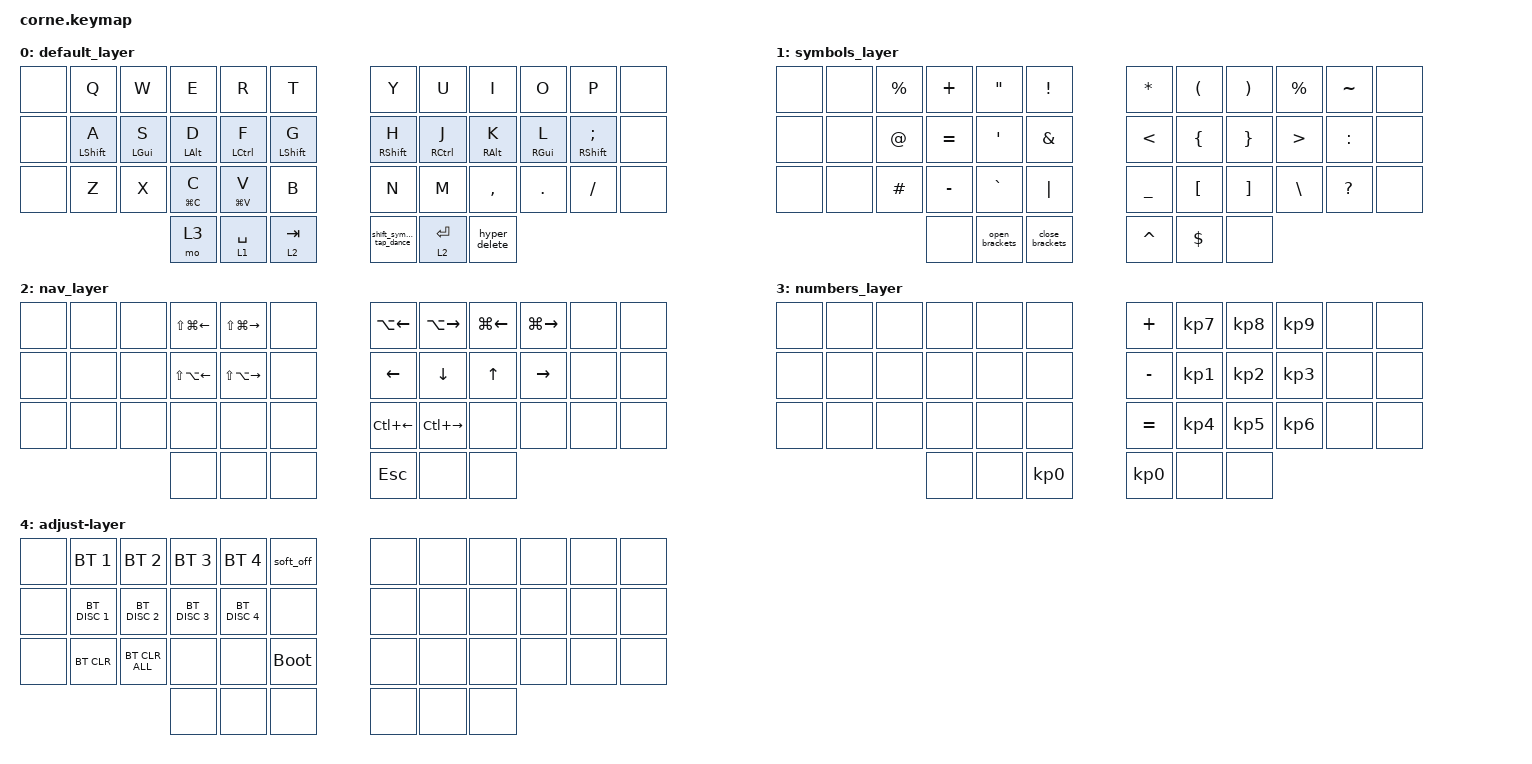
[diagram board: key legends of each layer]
/*
 * Copyright (c) 2020 The ZMK Contributors
 *
 * SPDX-License-Identifier: MIT
 */

#include <behaviors.dtsi>
#include <dt-bindings/zmk/bt.h>
#include <dt-bindings/zmk/keys.h>

/ {
    behaviors {
        balanced_mod_tap: balanced_mod_tap {
            compatible = "zmk,behavior-hold-tap";
            label = "BALANCED_MOD_TAP";
            bindings = <&sk>, <&kp>;

            #binding-cells = <2>;
            flavor = "balanced";
            tapping-term-ms = <200>;
        };

        shift_sym_layer_tap_dance: shift_sym_layer_tap_dance {
            compatible = "zmk,behavior-tap-dance";
            label = "SHIFT_SYM_LAYER_TAP_DANCE";
            #binding-cells = <0>;
            bindings = <&sk LEFT_SHIFT>, <&sl 1>;
        };

        dot_key_repeat_tap_dance: dot_key_repeat_tap_dance {
            compatible = "zmk,behavior-tap-dance";
            label = "DOT_KEY_REPEAT_TAP_DANCE";
            #binding-cells = <0>;
            bindings = <&kp DOT>, <&key_repeat>;
        };

        hyper_delete: hyper_delete {
            compatible = "zmk,behavior-tap-dance";
            label = "HYPER_DELETE";
            #binding-cells = <0>;
            bindings =
                <&kp BACKSPACE>,
                <&kp LA(BACKSPACE)>,
                <&kp LG(BACKSPACE)>;
        };

        open_brackets: open_brackets {
            compatible = "zmk,behavior-tap-dance";
            label = "OPEN_BRACKETS";
            #binding-cells = <0>;
            bindings = <&kp LEFT_BRACKET>, <&kp LESS_THAN>;
        };

        close_brackets: close_brackets {
            compatible = "zmk,behavior-tap-dance";
            label = "CLOSE_BRACKETS";
            #binding-cells = <0>;
            bindings = <&kp RIGHT_BRACKET>, <&kp GREATER_THAN>;
        };

        release_mod_tap: release_mod_tap {
            compatible = "zmk,behavior-hold-tap";
            label = "RELEASE_MOD_TAP";
            bindings = <&kp>, <&kp>;

            #binding-cells = <2>;
            flavor = "balanced";
            hold-trigger-on-release;
            tapping-term-ms = <200>;
        };

        brace_tap_dance: brace_tap_dance {
            compatible = "zmk,behavior-tap-dance";
            label = "BRACE_TAP_DANCE";
            #binding-cells = <0>;
            bindings = <&kp LEFT_BRACE>, <&kp RIGHT_BRACE>;
        };

        tap_num_word: tap_num_word {
            compatible = "zmk,behavior-tap-dance";
            label = "TAP_NUM_WORD";
            #binding-cells = <0>;
            bindings = <&sl 3>, <&caps_word>;
        };

        home_row_mod: home_row_mod {
            compatible = "zmk,behavior-hold-tap";
            label = "HOME_ROW_MOD";
            bindings = <&kp>, <&kp>;

            #binding-cells = <2>;
            tapping-term-ms = <200>;
        };
    };

    combos {
        compatible = "zmk,combos";

        sticky-adjust-layer {
            bindings = <&sl 4>;
            key-positions = <10 1>;
            layers = <0>;
            require-prior-idle-ms = <200>;
        };
    };

    keymap {
        compatible = "zmk,keymap";

        default_layer {
            // -----------------------------------------------------------------------------------------
            // |  TAB |  Q  |  W  |  E  |  R  |  T  |   |  Y  |  U   |  I  |  O  |  P  | BKSP |
            // | CTRL |  A  |  S  |  D  |  F  |  G  |   |  H  |  J   |  K  |  L  |  ;  |  '   |
            // | SHFT |  Z  |  X  |  C  |  V  |  B  |   |  N  |  M   |  ,  |  .  |  /  | ESC  |
            //                    | GUI | LWR | SPC |   | ENT | RSE  | ALT |

            bindings = <
&none  &kp Q                           &kp W                         &kp E                         &kp R                      &kp T                             &kp Y                            &kp U                      &kp I                          &kp O                          &kp P                           &none
&none  &balanced_mod_tap LEFT_SHIFT A  &balanced_mod_tap LEFT_GUI S  &balanced_mod_tap LEFT_ALT D  &balanced_mod_tap LCTRL F  &balanced_mod_tap LEFT_SHIFT G    &balanced_mod_tap RIGHT_SHIFT H  &balanced_mod_tap RCTRL J  &balanced_mod_tap RIGHT_ALT K  &balanced_mod_tap RIGHT_GUI L  &home_row_mod RIGHT_SHIFT SEMI  &none
&none  &kp Z                           &kp X                         &balanced_mod_tap LG(C) C     &release_mod_tap LG(V) V   &kp B                             &kp N                            &kp M                      &kp COMMA                      &kp PERIOD                     &kp FSLH                        &none
                                                                     &mo 3                         &lt 1 SPACE                &lt 2 TAB                         &shift_sym_layer_tap_dance       &lt 2 ENTER                &hyper_delete
            >;
        };

        symbols_layer {
            bindings = <
&none  &none  &kp PERCENT  &kp PLUS   &kp DOUBLE_QUOTES  &kp EXCLAMATION    &kp ASTERISK    &kp LEFT_PARENTHESIS  &kp RIGHT_PARENTHESIS  &kp PERCENT       &kp TILDE     &none
&none  &none  &kp AT_SIGN  &kp EQUAL  &kp SINGLE_QUOTE   &kp AMPERSAND      &kp LESS_THAN   &kp LEFT_BRACE        &kp RIGHT_BRACE        &kp GREATER_THAN  &kp COLON     &none
&none  &none  &kp HASH     &kp MINUS  &kp GRAVE          &kp PIPE           &kp UNDERSCORE  &kp LEFT_BRACKET      &kp RIGHT_BRACKET      &kp BACKSLASH     &kp QUESTION  &none
                           &none      &open_brackets     &close_brackets    &kp CARET       &kp DOLLAR            &none
            >;
        };

        nav_layer {
            bindings = <
&none  &none  &none  &kp LS(LG(LEFT_ARROW))  &kp LS(LG(RIGHT))  &none    &kp LA(LEFT)        &kp LA(RIGHT)  &kp LG(LEFT)  &kp LG(RIGHT)  &none  &none
&none  &none  &none  &kp LS(LA(LEFT_ARROW))  &kp LS(LA(RIGHT))  &none    &kp LEFT_ARROW      &kp DOWN       &kp UP_ARROW  &kp RIGHT      &none  &none
&none  &none  &none  &none                   &none              &none    &kp LC(LEFT_ARROW)  &kp LC(RIGHT)  &none         &none          &none  &none
                     &none                   &none              &none    &kp ESCAPE          &none          &none
            >;
        };

        numbers_layer {
            bindings = <
&none  &none  &none  &none  &none  &none              &kp PLUS         &kp KP_NUMBER_7  &kp KP_NUMBER_8  &kp KP_NUMBER_9  &none  &none
&none  &none  &none  &none  &none  &none              &kp MINUS        &kp KP_NUMBER_1  &kp KP_NUMBER_2  &kp KP_NUMBER_3  &none  &none
&none  &none  &none  &none  &none  &none              &kp EQUAL        &kp KP_NUMBER_4  &kp KP_NUMBER_5  &kp KP_NUMBER_6  &none  &none
                     &none  &none  &kp KP_NUMBER_0    &kp KP_NUMBER_0  &none            &none
            >;
        };

        adjust-layer {
            bindings = <
&none  &bt BT_SEL 1   &bt BT_SEL 2    &bt BT_SEL 3   &bt BT_SEL 4   &soft_off      &none  &none  &none  &none  &none  &none
&none  &bt BT_DISC 1  &bt BT_DISC 2   &bt BT_DISC 3  &bt BT_DISC 4  &none          &none  &none  &none  &none  &none  &none
&none  &bt BT_CLR     &bt BT_CLR_ALL  &none          &none          &bootloader    &none  &none  &none  &none  &none  &none
                                      &none          &none          &none          &none  &none  &none
            >;
        };
    };

    conditional_layers { compatible = "zmk,conditional-layers"; };
};
